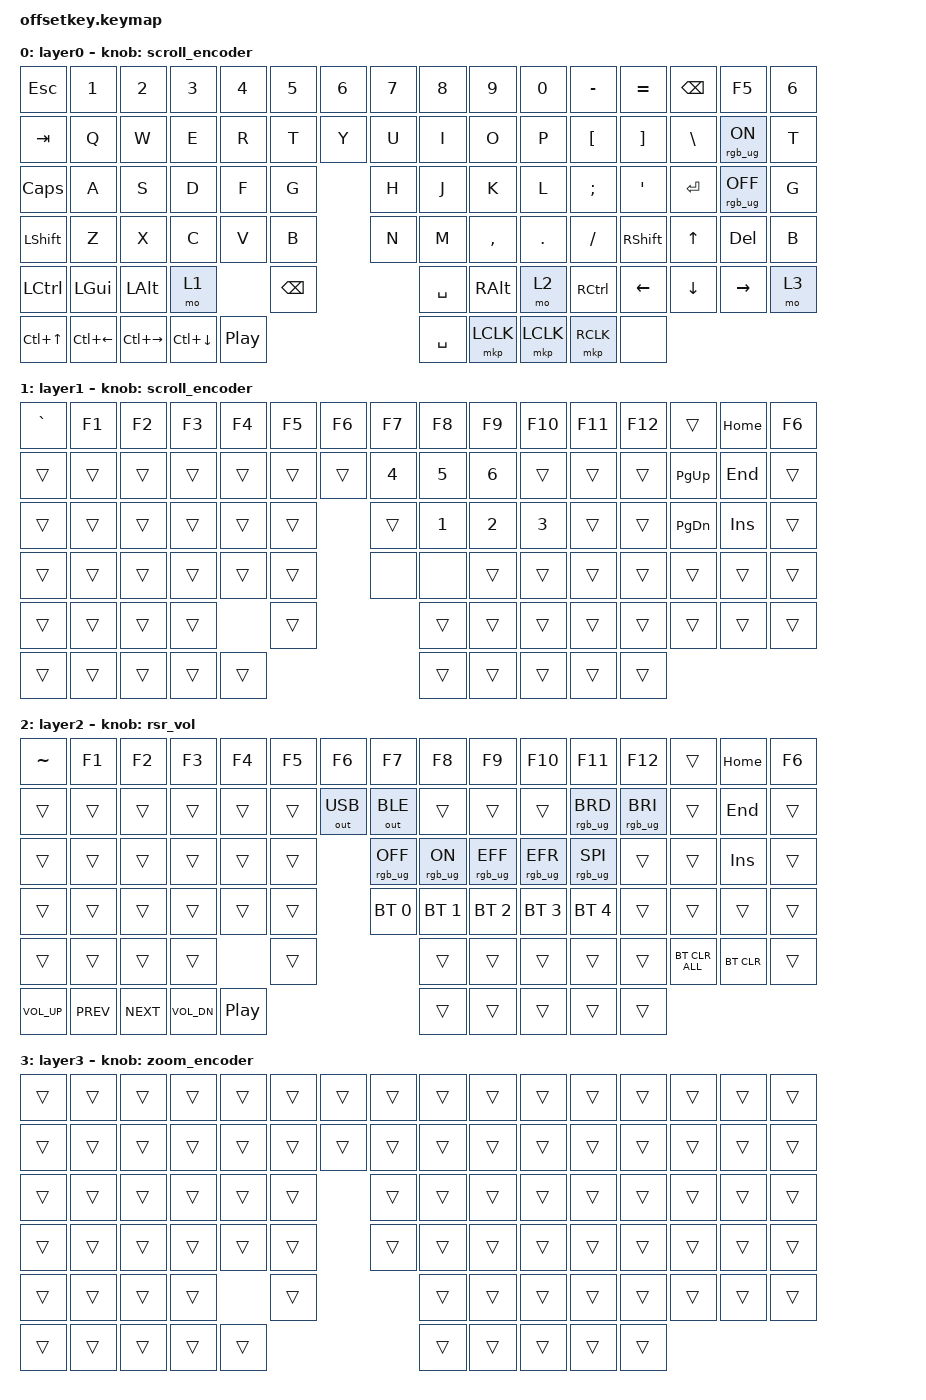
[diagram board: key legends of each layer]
#define ZMK_POINTING_DEFAULT_MOVE_VAL 1200  // 600
#define ZMK_POINTING_DEFAULT_SCRL_VAL 35    // 10
#define BASE 0
#define LOWER 1
#define MOUSE_KEYS 2
#define MOUSE_TP 3
#define MOUSE_TP_SET 4

#include <input/processors.dtsi>
#include <zephyr/dt-bindings/input/input-event-codes.h>
#include <behaviors.dtsi>
#include <behaviors/runtime-sensor-rotate.dtsi>
#include <behaviors/display_flip.dtsi>
#include <dt-bindings/zmk/bt.h>
#include <dt-bindings/zmk/keys.h>
#include <dt-bindings/zmk/outputs.h>
#include <dt-bindings/zmk/pointing.h>
#include <dt-bindings/zmk/rgb.h>
#include <behaviors/runtime_macro.dtsi>

&mmv_input_listener { input-processors = <&zip_xy_scaler 2 1>; };

&msc_input_listener { input-processors = <&zip_scroll_scaler 2 1>; };

&msc {
    acceleration-exponent = <0>;      // 0
    time-to-max-speed-ms = <0>;       // 300
    delay-ms = <0>;                   // 0
};

&mmv {
    time-to-max-speed-ms = <400>;
    acceleration-exponent = <1>;
};

/ {
    scroll_encoder: scroll_encoder {
        compatible = "zmk,behavior-sensor-rotate";
        #sensor-binding-cells = <0>;
        bindings = <&msc SCRL_UP>, <&msc SCRL_DOWN>;
        tap-ms = <100>;
    };

    zoom_encoder: zoom_encoder {
        compatible = "zmk,behavior-sensor-rotate";
        #sensor-binding-cells = <0>;
        bindings = <&kp LG(EQUAL)>, <&kp LG(MINUS)>;
    };

    behaviors {
        ltq: ltq {
            compatible = "zmk,behavior-hold-tap";
            label = "LTQ";
            bindings = <&mo>, <&kp>;

            #binding-cells = <2>;
            tapping-term-ms = <200>;
            quick-tap-ms = <180>;
        };

        rsr_vol: rsr_vol {
            compatible = "zmk,behavior-runtime-sensor-rotate";
            #sensor-binding-cells = <0>;
            tap-ms = <5>;
            cw-binding = <&kp C_VOL_UP>;
            ccw-binding = <&kp C_VOL_DN>;
        };
    };

    combos {
        compatible = "zmk,combos";

        flash {
            bindings = <&bootloader>;
            key-positions = <0 11>;
        };

        flip_display {
            bindings = <&dflip>;
            key-positions = <0 13>;
        };
    };

    keymap {
        compatible = "zmk,keymap";

        BASE {
            bindings = <
&kp ESC       &kp N1          &kp N2           &kp N3          &kp N4     &kp N5     &kp N6      &kp N7     &kp N8     &kp N9         &kp N0   &kp MINUS  &kp EQUAL        &kp BSPC      &kp F5                           &kp NUMBER_6
&kp TAB       &kp Q           &kp W            &kp E           &kp R      &kp T                  &kp Y      &kp U      &kp I          &kp O    &kp P      &kp LBKT         &kp RBKT      &kp BSLH         &rgb_ug RGB_ON  &kp T
&kp CAPS      &kp A           &kp S            &kp D           &kp F      &kp G                  &kp H      &kp J      &kp K          &kp L    &kp SEMI   &kp APOS         &kp ENTER     &rgb_ug RGB_OFF                  &kp G
&kp LSHFT     &kp Z           &kp X            &kp C           &kp V      &kp B                  &kp N      &kp M      &kp COMMA      &kp DOT  &kp FSLH   &kp RIGHT_SHIFT  &kp UP_ARROW  &kp DELETE                       &kp B
&kp LCTRL     &kp LEFT_GUI    &kp LEFT_ALT     &mo 1                      &kp BSPC                          &kp SPACE  &kp RIGHT_ALT  &mo 2    &kp RCTRL  &kp LEFT         &kp DOWN      &kp RIGHT                        &mo 3
&kp LC(UP_ARROW)  &kp LC(LEFT_ARROW)  &kp LC(RIGHT_ARROW)  &kp LC(DOWN_ARROW)  &kp C_PLAY_PAUSE  &kp SPACE              &mkp LCLK  &mkp LCLK  &mkp RCLK      &none
            >;

            label = "layer0";
            sensor-bindings = <&scroll_encoder>;
        };

        layer_1 {
            bindings = <
&kp GRAVE  &kp F1  &kp F2  &kp F3  &kp F4  &kp F5  &kp F6      &kp F7  &kp F8        &kp F9        &kp F10       &kp F11  &kp F12  &trans     &kp HOME             &kp F6
&trans     &trans  &trans  &trans  &trans  &trans              &trans  &kp NUMBER_4  &kp NUMBER_5  &kp NUMBER_6  &trans   &trans   &trans     &kp PG_UP   &kp END  &trans
&trans     &trans  &trans  &trans  &trans  &trans              &trans  &kp NUMBER_1  &kp NUMBER_2  &kp NUMBER_3  &trans   &trans   &kp PG_DN  &kp INSERT           &trans
&trans     &trans  &trans  &trans  &trans  &trans              &none   &none         &trans        &trans        &trans   &trans   &trans     &trans               &trans
&trans     &trans  &trans  &trans          &trans                      &trans        &trans        &trans        &trans   &trans   &trans     &trans               &trans
  &trans  &trans  &trans  &trans  &trans  &trans  &trans  &trans  &trans  &trans
            >;

            label = "layer1";
            sensor-bindings = <&scroll_encoder>;
        };

        layer_2 {
            bindings = <
&kp TILDE  &kp F1  &kp F2  &kp F3  &kp F4  &kp F5  &kp F6      &kp F7           &kp F8          &kp F9           &kp F10          &kp F11          &kp F12  &trans          &kp HOME             &kp F6
 &trans  &trans  &trans  &trans  &trans  &trans  &out  OUT_USB  &out  OUT_BLE  &trans  &trans  &trans  &rgb_ug  RGB_BRD  &rgb_ug  RGB_BRI  &trans  &kp  END  &trans
&trans     &trans  &trans  &trans  &trans  &trans              &rgb_ug RGB_OFF  &rgb_ug RGB_ON  &rgb_ug RGB_EFF  &rgb_ug RGB_EFR  &rgb_ug RGB_SPI  &trans   &trans          &kp INSERT           &trans
&trans     &trans  &trans  &trans  &trans  &trans              &bt BT_SEL 0     &bt BT_SEL 1    &bt BT_SEL 2     &bt BT_SEL 3     &bt BT_SEL 4     &trans   &trans          &trans               &trans
&trans     &trans  &trans  &trans          &trans                               &trans          &trans           &trans           &trans           &trans   &bt BT_CLR_ALL  &bt BT_CLR           &trans
  &kp C_VOL_UP  &kp C_PREV  &kp C_NEXT  &kp C_VOL_DN  &kp C_PLAY_PAUSE  &trans  &trans  &trans  &trans  &trans
            >;

            label = "layer2";
            sensor-bindings = <&rsr_vol>;
        };

        layer_3 {
            bindings = <
&trans  &trans  &trans  &trans  &trans  &trans  &trans      &trans  &trans  &trans  &trans  &trans  &trans  &trans  &trans          &trans
&trans  &trans  &trans  &trans  &trans  &trans              &trans  &trans  &trans  &trans  &trans  &trans  &trans  &trans  &trans  &trans
&trans  &trans  &trans  &trans  &trans  &trans              &trans  &trans  &trans  &trans  &trans  &trans  &trans  &trans          &trans
&trans  &trans  &trans  &trans  &trans  &trans              &trans  &trans  &trans  &trans  &trans  &trans  &trans  &trans          &trans
&trans  &trans  &trans  &trans          &trans                      &trans  &trans  &trans  &trans  &trans  &trans  &trans          &trans
&trans  &trans  &trans  &trans  &trans  &trans              &trans  &trans  &trans  &trans
            >;

            label = "layer3";
            sensor-bindings = <&zoom_encoder>;
        };
    };
};
